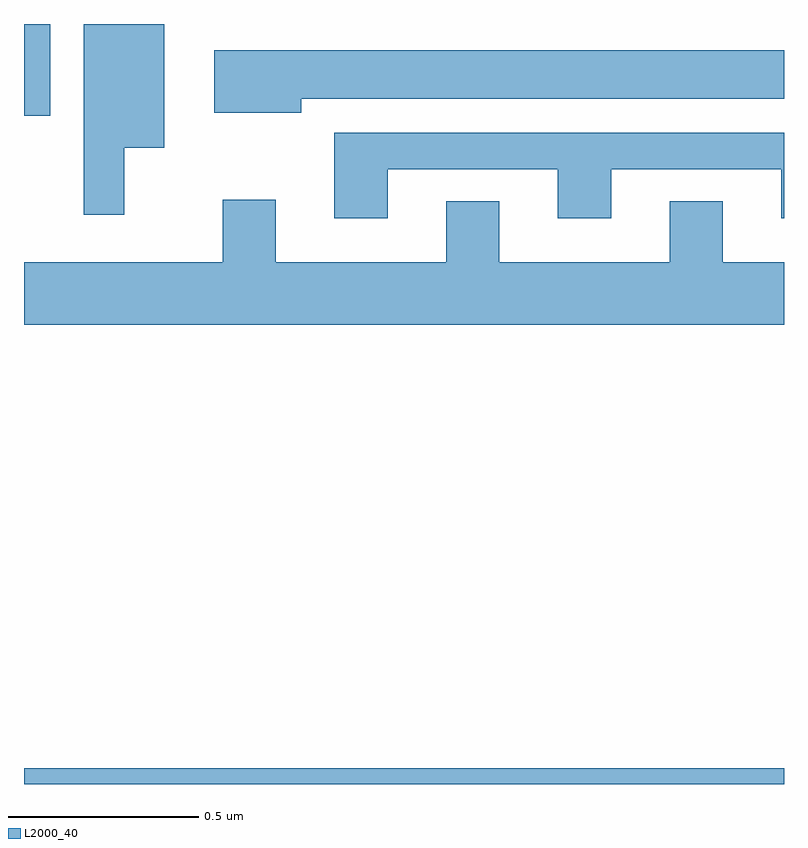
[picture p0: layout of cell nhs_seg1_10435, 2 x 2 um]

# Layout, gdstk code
import gdstk
lib = gdstk.Library(unit=1e-6, precision=1e-09)
def R(c, l, rs):  # rectangles x0, y0, x1, y1
    for r in rs: c.add(gdstk.rectangle(r[:2], r[2:], *l))
def P(c, l, *ps):  # polygons
    for p in ps: c.add(gdstk.Polygon(p, *l))
L2000_40 = (2000, 40)

nhs_seg1_10435 = lib.new_cell('nhs_seg1_10435')
R(nhs_seg1_10435, L2000_40, [(241,541.199,243,541.24), (241,542.957,241.069,543.199)])
P(nhs_seg1_10435, L2000_40, [(241.264,542.873),(241.369,542.873),(241.369,543.199),(241.157,543.199),(241.157,542.697),(241.264,542.697)],
  [(241.729,543.002),(243,543.002),(243,543.13),(241.5,543.13),(241.5,542.966),(241.729,542.966)],
  [(241.957,542.817),(242.405,542.817),(242.405,542.688),(242.545,542.688),(242.545,542.817),(242.993,542.817),(242.993,542.688),(243,542.688),(243,542.913),(241.817,542.913),(241.817,542.688),(241.957,542.688)],
  [(243,542.572),(242.839,542.572),(242.839,542.732),(242.699,542.732),(242.699,542.572),(242.251,542.572),(242.251,542.732),(242.111,542.732),(242.111,542.572),(241.663,542.572),(241.663,542.737),(241.523,542.737),(241.523,542.572),(241,542.572),(241,542.408),(243,542.408)])

lib.write_gds('nhs_seg1_10435.gds')
